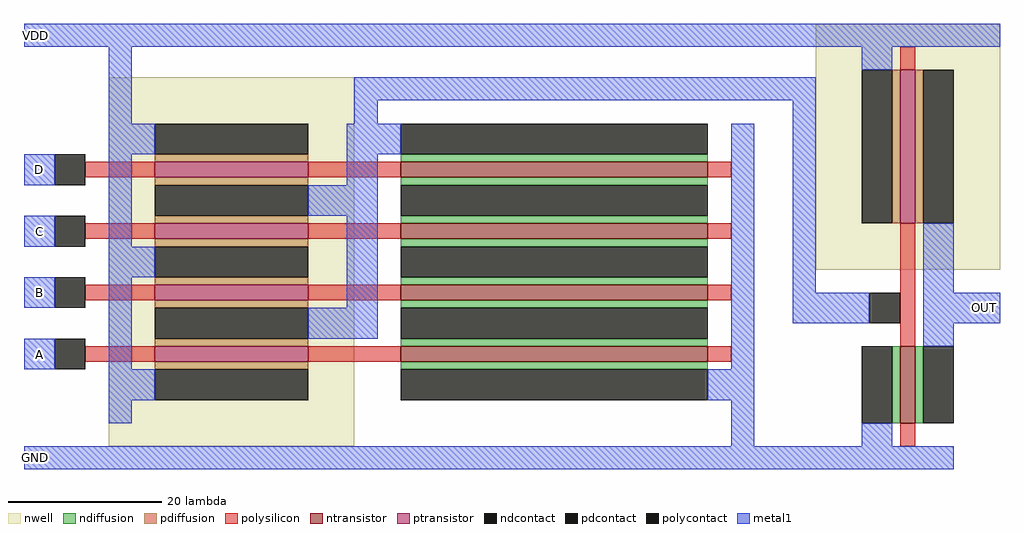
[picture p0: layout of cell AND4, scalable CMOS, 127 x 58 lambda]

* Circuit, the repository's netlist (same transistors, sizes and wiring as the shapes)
* SPICE3 file created from AND4.ext - technology: scmos

.option scale=0.09u

M1000 a_49_21# B a_49_13# Gnd cmosn w=40 l=2
+  ad=240 pd=92 as=240 ps=92
M1001 VDD B a_17_13# w_11_0# cmosp w=20 l=2
+  ad=420 pd=202 as=240 ps=104
M1002 a_49_29# C a_49_21# Gnd cmosn w=40 l=2
+  ad=240 pd=92 as=0 ps=0
M1003 a_17_13# C VDD w_11_0# cmosp w=20 l=2
+  ad=0 pd=0 as=0 ps=0
M1004 a_49_13# A GND Gnd cmosn w=40 l=2
+  ad=0 pd=0 as=250 ps=120
M1005 a_17_13# A VDD w_11_0# cmosp w=20 l=2
+  ad=0 pd=0 as=0 ps=0
M1006 OUT a_17_13# VDD w_103_23# cmosp w=20 l=2
+  ad=100 pd=50 as=0 ps=0
M1007 a_17_13# D a_49_29# Gnd cmosn w=40 l=2
+  ad=200 pd=90 as=0 ps=0
M1008 VDD D a_17_13# w_11_0# cmosp w=20 l=2
+  ad=0 pd=0 as=0 ps=0
M1009 OUT a_17_13# GND Gnd cmosn w=10 l=2
+  ad=50 pd=30 as=0 ps=0

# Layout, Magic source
magic
tech scmos
<< nwell >>
rect 11 0 43 48
rect 103 23 127 55
<< ntransistor >>
rect 49 35 89 37
rect 49 27 89 29
rect 49 19 89 21
rect 49 11 89 13
rect 114 3 116 13
<< ptransistor >>
rect 17 35 37 37
rect 114 29 116 49
rect 17 27 37 29
rect 17 19 37 21
rect 17 11 37 13
<< ndiffusion >>
rect 49 37 89 38
rect 49 34 89 35
rect 49 29 89 30
rect 49 26 89 27
rect 49 21 89 22
rect 49 18 89 19
rect 49 13 89 14
rect 49 10 89 11
rect 113 3 114 13
rect 116 3 117 13
<< pdiffusion >>
rect 17 37 37 38
rect 17 34 37 35
rect 17 29 37 30
rect 113 29 114 49
rect 116 29 117 49
rect 17 26 37 27
rect 17 21 37 22
rect 17 18 37 19
rect 17 13 37 14
rect 17 10 37 11
<< ndcontact >>
rect 49 38 89 42
rect 49 30 89 34
rect 49 22 89 26
rect 49 14 89 18
rect 49 6 89 10
rect 109 3 113 13
rect 117 3 121 13
<< pdcontact >>
rect 17 38 37 42
rect 17 30 37 34
rect 109 29 113 49
rect 117 29 121 49
rect 17 22 37 26
rect 17 14 37 18
rect 17 6 37 10
<< polysilicon >>
rect 114 49 116 52
rect 8 35 17 37
rect 37 35 49 37
rect 89 35 92 37
rect 8 27 17 29
rect 37 27 49 29
rect 89 27 92 29
rect 8 19 17 21
rect 37 19 49 21
rect 89 19 92 21
rect 114 13 116 29
rect 8 11 17 13
rect 37 11 49 13
rect 89 11 92 13
rect 114 0 116 3
<< polycontact >>
rect 4 34 8 38
rect 4 26 8 30
rect 4 18 8 22
rect 4 10 8 14
rect 110 16 114 20
<< metal1 >>
rect 0 52 127 55
rect 11 42 14 52
rect 109 49 113 52
rect 43 45 103 48
rect 43 42 46 45
rect 11 38 17 42
rect 42 38 49 42
rect 0 34 4 38
rect 0 26 4 30
rect 11 26 14 38
rect 42 34 46 38
rect 37 30 46 34
rect 11 22 17 26
rect 0 18 4 22
rect 0 10 4 14
rect 11 10 14 22
rect 42 18 46 30
rect 37 14 46 18
rect 92 10 95 42
rect 100 20 103 45
rect 117 20 121 29
rect 100 16 110 20
rect 117 16 127 20
rect 117 13 121 16
rect 11 6 17 10
rect 89 6 95 10
rect 11 3 14 6
rect 92 0 95 6
rect 109 0 113 3
rect 0 -3 121 0
<< labels >>
rlabel metal1 0 10 4 14 3 A
rlabel metal1 0 18 4 22 3 B
rlabel metal1 0 26 4 30 3 C
rlabel metal1 0 34 4 38 3 D
rlabel metal1 123 16 127 20 7 OUT
rlabel metal1 0 -3 3 0 2 GND
rlabel metal1 0 52 3 55 4 VDD
<< end >>
